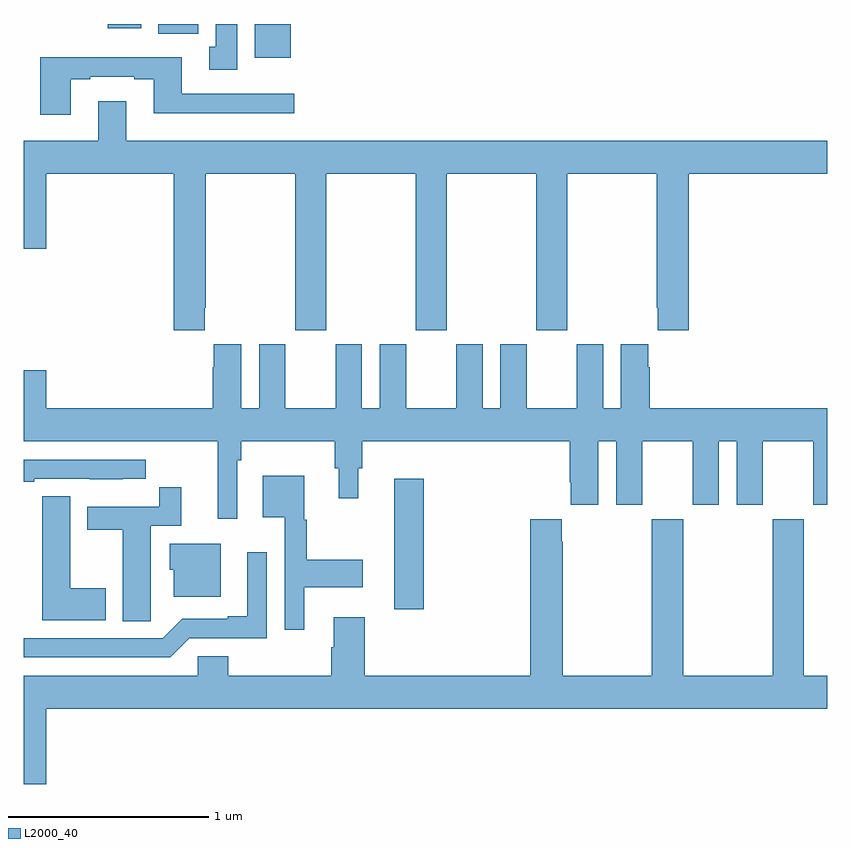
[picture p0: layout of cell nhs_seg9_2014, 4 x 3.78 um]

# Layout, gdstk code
import gdstk
lib = gdstk.Library(unit=1e-6, precision=1e-09)
def R(c, l, rs):  # rectangles x0, y0, x1, y1
    for r in rs: c.add(gdstk.rectangle(r[:2], r[2:], *l))
def P(c, l, *ps):  # polygons
    for p in ps: c.add(gdstk.Polygon(p, *l))
L2000_40 = (2000, 40)

nhs_seg9_2014 = lib.new_cell('nhs_seg9_2014')
R(nhs_seg9_2014, L2000_40, [(226.844,1191.588,226.991,1192.237), (226.151,1194.332,226.33,1194.5), (225.671,1194.452,225.868,1194.5), (225.419,1194.48,225.586,1194.5)])
P(nhs_seg9_2014, L2000_40, [(226.063,1194.5),(225.956,1194.5),(225.956,1194.386),(225.923,1194.386),(225.923,1194.273),(226.063,1194.273)],
  [(225.235,1194.225),(225.331,1194.225),(225.331,1194.237),(225.551,1194.237),(225.551,1194.225),(225.647,1194.225),(225.647,1194.056),(226.348,1194.056),(226.348,1194.153),(225.787,1194.153),(225.787,1194.334),(225.083,1194.334),(225.083,1194.048),(225.235,1194.048)],
  [(225.901,1193.089),(225.906,1193.089),(225.906,1193.756),(226.351,1193.756),(226.351,1192.977),(226.506,1192.977),(226.506,1193.756),(226.951,1193.756),(226.951,1192.977),(227.106,1192.977),(227.106,1193.756),(227.551,1193.756),(227.551,1192.977),(227.706,1192.977),(227.706,1193.756),(228.151,1193.756),(228.151,1193.089),(228.155,1193.089),(228.155,1192.977),(228.311,1192.977),(228.311,1193.756),(229,1193.756),(229,1193.92),(225.511,1193.92),(225.511,1194.115),(225.371,1194.115),(225.371,1193.92),(225,1193.92),(225,1193.382),(225.112,1193.382),(225.112,1193.756),(225.746,1193.756),(225.746,1192.977),(225.901,1192.977)],
  [(226.549,1192.29),(226.568,1192.29),(226.568,1192.14),(226.666,1192.14),(226.666,1192.29),(226.685,1192.29),(226.685,1192.424),(227.717,1192.424),(227.717,1192.219),(227.723,1192.219),(227.723,1192.107),(227.86,1192.107),(227.86,1192.424),(227.948,1192.424),(227.948,1192.107),(228.079,1192.107),(228.079,1192.424),(228.329,1192.424),(228.329,1192.107),(228.46,1192.107),(228.46,1192.424),(228.548,1192.424),(228.548,1192.107),(228.679,1192.107),(228.679,1192.424),(228.929,1192.424),(228.929,1192.107),(229,1192.107),(229,1192.588),(228.116,1192.588),(228.116,1192.793),(228.109,1192.793),(228.109,1192.906),(227.972,1192.906),(227.972,1192.588),(227.884,1192.588),(227.884,1192.906),(227.753,1192.906),(227.753,1192.588),(227.503,1192.588),(227.503,1192.906),(227.372,1192.906),(227.372,1192.588),(227.284,1192.588),(227.284,1192.906),(227.153,1192.906),(227.153,1192.588),(226.903,1192.588),(226.903,1192.906),(226.772,1192.906),(226.772,1192.588),(226.684,1192.588),(226.684,1192.906),(226.553,1192.906),(226.553,1192.588),(226.303,1192.588),(226.303,1192.906),(226.172,1192.906),(226.172,1192.588),(226.084,1192.588),(226.084,1192.906),(225.947,1192.906),(225.947,1192.793),(225.941,1192.793),(225.941,1192.588),(225.112,1192.588),(225.112,1192.777),(225,1192.777),(225,1192.424),(225.965,1192.424),(225.965,1192.038),(226.062,1192.038),(226.062,1192.328),(226.082,1192.328),(226.082,1192.424),(226.549,1192.424)],
  [(225.052,1192.236),(225.328,1192.236),(225.328,1192.235),(225.494,1192.235),(225.494,1192.236),(225.607,1192.236),(225.607,1192.332),(225,1192.332),(225,1192.221),(225.052,1192.221)],
  [(226.396,1191.698),(226.687,1191.698),(226.687,1191.833),(226.408,1191.833),(226.408,1192.032),(226.396,1192.032),(226.396,1192.252),(226.19,1192.252),(226.19,1192.046),(226.299,1192.046),(226.299,1191.486),(226.396,1191.486)],
  [(225.633,1191.64),(225.634,1191.64),(225.634,1192.002),(225.785,1192.002),(225.785,1192.195),(225.676,1192.195),(225.676,1192.098),(225.317,1192.098),(225.317,1191.982),(225.494,1191.982),(225.494,1191.529),(225.633,1191.529)],
  [(225.409,1191.693),(225.232,1191.693),(225.232,1192.151),(225.093,1192.151),(225.093,1192.043),(225.092,1192.043),(225.092,1191.533),(225.409,1191.533)],
  [(225.112,1191.092),(229,1191.092),(229,1191.256),(228.882,1191.256),(228.882,1192.036),(228.727,1192.036),(228.727,1191.256),(228.282,1191.256),(228.282,1192.036),(228.127,1192.036),(228.127,1191.256),(227.682,1191.256),(227.682,1191.923),(227.677,1191.923),(227.677,1192.036),(227.522,1192.036),(227.522,1191.256),(226.697,1191.256),(226.697,1191.547),(226.544,1191.547),(226.544,1191.398),(226.532,1191.398),(226.532,1191.256),(226.019,1191.256),(226.019,1191.354),(225.867,1191.354),(225.867,1191.256),(225,1191.256),(225,1190.718),(225.112,1190.718)],
  [(225.982,1191.913),(225.728,1191.913),(225.728,1191.783),(225.746,1191.783),(225.746,1191.65),(225.982,1191.65)],
  [(225.825,1191.444),(226.209,1191.444),(226.209,1191.871),(226.112,1191.871),(226.112,1191.553),(226.016,1191.553),(226.016,1191.54),(225.789,1191.54),(225.693,1191.444),(225,1191.444),(225,1191.348),(225.729,1191.348)])

lib.write_gds('nhs_seg9_2014.gds')
